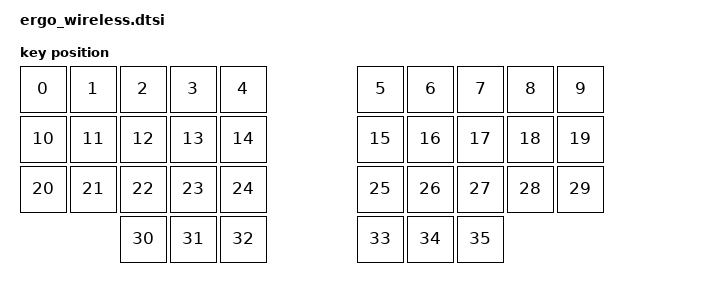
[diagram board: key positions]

#include <physical_layouts.dtsi>


/ {
    physical_layout0: physical_layout_0 {
        compatible = "zmk,physical-layout";
        display-name = "LAYOUT";

        kscan = <&kscan0>;
        transform = <&default_transform>;

     
        keys  //                     w   h    x    y     rot    rx    ry
            = <&key_physical_attrs 100 100    0    0       0     0     0>
            , <&key_physical_attrs 100 100  100    0       0     0     0>
            , <&key_physical_attrs 100 100  200    0       0     0     0>
            , <&key_physical_attrs 100 100  300    0       0     0     0>
            , <&key_physical_attrs 100 100  400    0       0     0     0>
            , <&key_physical_attrs 100 100  675    0       0     0     0>
            , <&key_physical_attrs 100 100  775    0       0     0     0>
            , <&key_physical_attrs 100 100  875    0       0     0     0>
            , <&key_physical_attrs 100 100  975    0       0     0     0>
            , <&key_physical_attrs 100 100 1075    0       0     0     0>
            , <&key_physical_attrs 100 100    0  100       0     0     0>
            , <&key_physical_attrs 100 100  100  100       0     0     0>
            , <&key_physical_attrs 100 100  200  100       0     0     0>
            , <&key_physical_attrs 100 100  300  100       0     0     0>
            , <&key_physical_attrs 100 100  400  100       0     0     0>
            , <&key_physical_attrs 100 100  675  100       0     0     0>
            , <&key_physical_attrs 100 100  775  100       0     0     0>
            , <&key_physical_attrs 100 100  875  100       0     0     0>
            , <&key_physical_attrs 100 100  975  100       0     0     0>
            , <&key_physical_attrs 100 100 1075  100       0     0     0>
            , <&key_physical_attrs 100 100    0  200       0     0     0>
            , <&key_physical_attrs 100 100  100  200       0     0     0>
            , <&key_physical_attrs 100 100  200  200       0     0     0>
            , <&key_physical_attrs 100 100  300  200       0     0     0>
            , <&key_physical_attrs 100 100  400  200       0     0     0>
            , <&key_physical_attrs 100 100  675  200       0     0     0>
            , <&key_physical_attrs 100 100  775  200       0     0     0>
            , <&key_physical_attrs 100 100  875  200       0     0     0>
            , <&key_physical_attrs 100 100  975  200       0     0     0>
            , <&key_physical_attrs 100 100 1075  200       0     0     0>
            , <&key_physical_attrs 100 100  200  300       0     0     0>
            , <&key_physical_attrs 100 100  300  300       0     0     0>
            , <&key_physical_attrs 100 100  400  300       0     0     0>
            , <&key_physical_attrs 100 100  675  300       0     0     0>
            , <&key_physical_attrs 100 100  775  300       0     0     0>
            , <&key_physical_attrs 100 100  875  300       0     0     0>
            ;
    };
};
